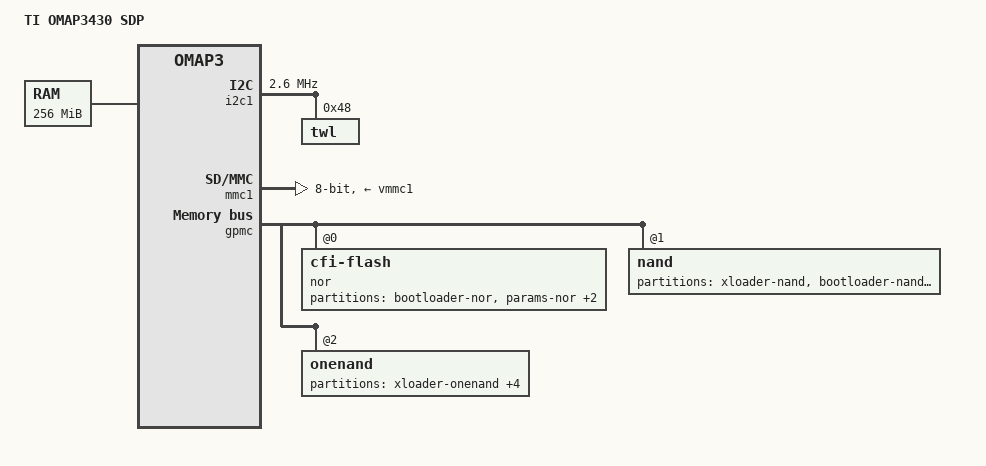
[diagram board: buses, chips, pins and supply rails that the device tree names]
/*
 * Copyright (C) 2013 Texas Instruments Incorporated - http://www.ti.com/
 *
 * This program is free software; you can redistribute it and/or modify
 * it under the terms of the GNU General Public License version 2 as
 * published by the Free Software Foundation.
 */
/dts-v1/;

#include "omap34xx.dtsi"

/ {
	model = "TI OMAP3430 SDP";
	compatible = "ti,omap3430-sdp", "ti,omap3";

	memory {
		device_type = "memory";
		reg = <0x80000000 0x10000000>; /* 256 MB */
	};
};

&i2c1 {
	clock-frequency = <2600000>;

	twl: twl@48 {
		reg = <0x48>;
		interrupts = <7>; /* SYS_NIRQ cascaded to intc */
	};
};

#include "twl4030.dtsi"
#include "twl4030_omap3.dtsi"

&mmc1 {
	vmmc-supply = <&vmmc1>;
	vmmc_aux-supply = <&vsim>;
	bus-width = <8>;
};

&mmc2 {
	status = "disabled";
};

&mmc3 {
	status = "disabled";
};

&gpmc {
	ranges = <0 0 0x10000000 0x08000000>,
		 <1 0 0x28000000 0x08000000>,
		 <2 0 0x20000000 0x10000000>;

	nor@0,0 {
		compatible = "cfi-flash";
		linux,mtd-name= "intel,pf48f6000m0y1be";
		#address-cells = <1>;
		#size-cells = <1>;
		reg = <0 0 0x08000000>;
		bank-width = <2>;

		gpmc,mux-add-data = <2>;
		gpmc,cs-on-ns = <0>;
		gpmc,cs-rd-off-ns = <186>;
		gpmc,cs-wr-off-ns = <186>;
		gpmc,adv-on-ns = <12>;
		gpmc,adv-rd-off-ns = <48>;
		gpmc,adv-wr-off-ns = <48>;
		gpmc,oe-on-ns = <54>;
		gpmc,oe-off-ns = <168>;
		gpmc,we-on-ns = <54>;
		gpmc,we-off-ns = <168>;
		gpmc,rd-cycle-ns = <186>;
		gpmc,wr-cycle-ns = <186>;
		gpmc,access-ns = <114>;
		gpmc,page-burst-access-ns = <6>;
		gpmc,bus-turnaround-ns = <12>;
		gpmc,cycle2cycle-delay-ns = <18>;
		gpmc,wr-data-mux-bus-ns = <90>;
		gpmc,wr-access-ns = <186>;
		gpmc,cycle2cycle-samecsen;
		gpmc,cycle2cycle-diffcsen;

		partition@0 {
			label = "bootloader-nor";
			reg = <0 0x40000>;
		};
		partition@0x40000 {
			label = "params-nor";
			reg = <0x40000 0x40000>;
		};
		partition@0x80000 {
			label = "kernel-nor";
			reg = <0x80000 0x200000>;
		};
		partition@0x280000 {
			label = "filesystem-nor";
			reg = <0x240000 0x7d80000>;
		};
	};

	nand@1,0 {
		linux,mtd-name= "micron,mt29f1g08abb";
		#address-cells = <1>;
		#size-cells = <1>;
		reg = <1 0 0x08000000>;
		nand-bus-width = <8>;

		ti,nand-ecc-opt = "sw";
		gpmc,cs-on-ns = <0>;
		gpmc,cs-rd-off-ns = <36>;
		gpmc,cs-wr-off-ns = <36>;
		gpmc,adv-on-ns = <6>;
		gpmc,adv-rd-off-ns = <24>;
		gpmc,adv-wr-off-ns = <36>;
		gpmc,oe-on-ns = <6>;
		gpmc,oe-off-ns = <48>;
		gpmc,we-on-ns = <6>;
		gpmc,we-off-ns = <30>;
		gpmc,rd-cycle-ns = <72>;
		gpmc,wr-cycle-ns = <72>;
		gpmc,access-ns = <54>;
		gpmc,wr-access-ns = <30>;

		partition@0 {
			label = "xloader-nand";
			reg = <0 0x80000>;
		};
		partition@0x80000 {
			label = "bootloader-nand";
			reg = <0x80000 0x140000>;
		};
		partition@0x1c0000 {
			label = "params-nand";
			reg = <0x1c0000 0xc0000>;
		};
		partition@0x280000 {
			label = "kernel-nand";
			reg = <0x280000 0x500000>;
		};
		partition@0x780000 {
			label = "filesystem-nand";
			reg = <0x780000 0x7880000>;
		};
	};

	onenand@2,0 {
		linux,mtd-name= "samsung,kfm2g16q2m-deb8";
		#address-cells = <1>;
		#size-cells = <1>;
		reg = <2 0 0x10000000>;

		gpmc,device-width = <2>;
		gpmc,mux-add-data = <2>;
		gpmc,cs-on-ns = <0>;
		gpmc,cs-rd-off-ns = <84>;
		gpmc,cs-wr-off-ns = <72>;
		gpmc,adv-on-ns = <0>;
		gpmc,adv-rd-off-ns = <18>;
		gpmc,adv-wr-off-ns = <18>;
		gpmc,oe-on-ns = <30>;
		gpmc,oe-off-ns = <84>;
		gpmc,we-on-ns = <0>;
		gpmc,we-off-ns = <42>;
		gpmc,rd-cycle-ns = <108>;
		gpmc,wr-cycle-ns = <96>;
		gpmc,access-ns = <78>;
		gpmc,wr-data-mux-bus-ns = <30>;

		partition@0 {
			label = "xloader-onenand";
			reg = <0 0x80000>;
		};
		partition@0x80000 {
			label = "bootloader-onenand";
			reg = <0x80000 0x40000>;
		};
		partition@0xc0000 {
			label = "params-onenand";
			reg = <0xc0000 0x20000>;
		};
		partition@0xe0000 {
			label = "kernel-onenand";
			reg = <0xe0000 0x200000>;
		};
		partition@0x2e0000 {
			label = "filesystem-onenand";
			reg = <0x2e0000 0xfd20000>;
		};
	};
};
